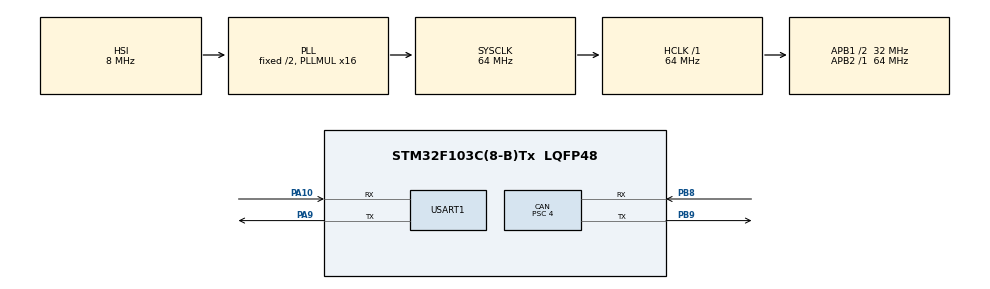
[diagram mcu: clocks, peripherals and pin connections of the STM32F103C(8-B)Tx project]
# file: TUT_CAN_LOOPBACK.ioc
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CAN.BS1=CAN_BS1_12TQ
CAN.BS2=CAN_BS2_3TQ
CAN.CalculateBaudRate=500000
CAN.CalculateTimeBit=2000
CAN.CalculateTimeQuantum=125.0
CAN.Mode=CAN_MODE_NORMAL
CAN.Prescaler=4
Mcu.Family=STM32F1
Mcu.Name=STM32F103C(8-B)Tx
Mcu.Package=LQFP48
NVIC.CAN1_RX1_IRQn=true\:0\:0\:false\:false\:true\:true\:true\:true
NVIC.PriorityGroup=NVIC_PRIORITYGROUP_4
NVIC.USB_LP_CAN1_RX0_IRQn=true\:0\:0\:false\:false\:true\:true\:true\:true
PA10.Mode=Asynchronous
PA10.Signal=USART1_RX
PA13.Mode=Serial_Wire
PA13.Signal=SYS_JTMS-SWDIO
PA14.Mode=Serial_Wire
PA14.Signal=SYS_JTCK-SWCLK
PA9.Mode=Asynchronous
PA9.Signal=USART1_TX
PB8.GPIO_PuPd=GPIO_PULLUP
PB8.Mode=CAN_Activate
PB8.Signal=CAN_RX
PB9.Mode=CAN_Activate
PB9.Signal=CAN_TX
PD0-OSC_IN.Mode=HSE-External-Oscillator
PD0-OSC_IN.Signal=RCC_OSC_IN
PD1-OSC_OUT.Mode=HSE-External-Oscillator
PD1-OSC_OUT.Signal=RCC_OSC_OUT
ProjectManager.HeapSize=0x200
ProjectManager.StackSize=0x400
ProjectManager.TargetToolchain=STM32CubeIDE
RCC.AHBFreq_Value=64000000
RCC.APB1CLKDivider=RCC_HCLK_DIV2
RCC.APB1Freq_Value=32000000
RCC.APB1TimFreq_Value=64000000
RCC.APB2Freq_Value=64000000
RCC.APB2TimFreq_Value=64000000
RCC.HCLKFreq_Value=64000000
RCC.PLLMUL=RCC_PLL_MUL16
RCC.SYSCLKFreq_VALUE=64000000
RCC.SYSCLKSource=RCC_SYSCLKSOURCE_PLLCLK
RCC.USBFreq_Value=64000000
USART1.VirtualMode=VM_ASYNC
board=custom

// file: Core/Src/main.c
/* USER CODE BEGIN Header */
/**
  ******************************************************************************
  * @file           : main.c
  * @brief          : Main program body
  ******************************************************************************
  * @attention
  *
  * <h2><center>&copy; Copyright (c) 2021 STMicroelectronics.
  * All rights reserved.</center></h2>
  *
  * This software component is licensed by ST under BSD 3-Clause license,
  * the "License"; You may not use this file except in compliance with the
  * License. You may obtain a copy of the License at:
  *                        opensource.org/licenses/BSD-3-Clause
  *
  ******************************************************************************
  */
/* USER CODE END Header */
#include "main.h"

CAN_HandleTypeDef hcan;

UART_HandleTypeDef huart1;

/* USER CODE BEGIN PV */
CAN_TxHeaderTypeDef   TxHeader; /* Header containing the information of the transmitted frame */
CAN_RxHeaderTypeDef   RxHeader; ; /* Header containing the information of the received frame */
uint8_t               TxData[8] = "RXhi000\n";  /* Buffer of the data to send */
uint8_t               RxData[8]; /* Buffer of the received data */
uint32_t              TxMailbox;  /* The number of the mail box that transmitted the Tx message */

/* USER CODE END PV */

void SystemClock_Config(void);
static void MX_GPIO_Init(void);
static void MX_CAN_Init(void);
static void MX_USART1_UART_Init(void);

int main(void)
{

  /* MCU Configuration--------------------------------------------------------*/

  /* Reset of all peripherals, Initializes the Flash interface and the Systick. */
  HAL_Init();

  /* Configure the system clock */
  SystemClock_Config();

  /* Initialize all configured peripherals */
  MX_GPIO_Init();
  MX_CAN_Init();
  MX_USART1_UART_Init();
  /* USER CODE BEGIN 2 */
  TxHeader.StdId = 0x124;
  TxHeader.RTR = CAN_RTR_DATA;
  TxHeader.IDE = CAN_ID_STD;
  TxHeader.DLC = 8;
  TxHeader.TransmitGlobalTime = DISABLE;

  /* USER CODE END 2 */

  /* Infinite loop */
  /* USER CODE BEGIN WHILE */
  while (1)
  {

	  TxData[6] --; /* Increment the last byte */

      /* It's mandatory to look for a free Tx mail box */
	  while(HAL_CAN_GetTxMailboxesFreeLevel(&hcan) == 0); /* Wait till a Tx mailbox is free. Using while loop instead of HAL_Delay() */
      HAL_Delay(1000);
    /* USER CODE END WHILE */

  }
}

void SystemClock_Config(void)
{
  RCC_OscInitTypeDef RCC_OscInitStruct = {0};
  RCC_ClkInitTypeDef RCC_ClkInitStruct = {0};

  /** Initializes the RCC Oscillators according to the specified parameters
  * in the RCC_OscInitTypeDef structure.
  */
  RCC_OscInitStruct.OscillatorType = RCC_OSCILLATORTYPE_HSI;
  RCC_OscInitStruct.HSIState = RCC_HSI_ON;
  RCC_OscInitStruct.HSICalibrationValue = RCC_HSICALIBRATION_DEFAULT;
  RCC_OscInitStruct.PLL.PLLState = RCC_PLL_ON;
  RCC_OscInitStruct.PLL.PLLSource = RCC_PLLSOURCE_HSI_DIV2;
  RCC_OscInitStruct.PLL.PLLMUL = RCC_PLL_MUL16;
  if (HAL_RCC_OscConfig(&RCC_OscInitStruct) != HAL_OK)
  {
    Error_Handler();
  }

  /** Initializes the CPU, AHB and APB buses clocks
  */
  RCC_ClkInitStruct.ClockType = RCC_CLOCKTYPE_HCLK|RCC_CLOCKTYPE_SYSCLK
                              |RCC_CLOCKTYPE_PCLK1|RCC_CLOCKTYPE_PCLK2;
  RCC_ClkInitStruct.SYSCLKSource = RCC_SYSCLKSOURCE_PLLCLK;
  RCC_ClkInitStruct.AHBCLKDivider = RCC_SYSCLK_DIV1;
  RCC_ClkInitStruct.APB1CLKDivider = RCC_HCLK_DIV2;
  RCC_ClkInitStruct.APB2CLKDivider = RCC_HCLK_DIV1;

  if (HAL_RCC_ClockConfig(&RCC_ClkInitStruct, FLASH_LATENCY_2) != HAL_OK)
  {
    Error_Handler();
  }
}

static void MX_CAN_Init(void)
{

  /* USER CODE BEGIN CAN_Init 0 */
	CAN_FilterTypeDef  sFilterConfig;

  /* USER CODE END CAN_Init 0 */

  hcan.Instance = CAN1;
  hcan.Init.Prescaler = 4;
  hcan.Init.Mode = CAN_MODE_NORMAL;
  hcan.Init.SyncJumpWidth = CAN_SJW_1TQ;
  hcan.Init.TimeSeg1 = CAN_BS1_12TQ;
  hcan.Init.TimeSeg2 = CAN_BS2_3TQ;
  hcan.Init.TimeTriggeredMode = DISABLE;
  hcan.Init.AutoBusOff = DISABLE;
  hcan.Init.AutoWakeUp = DISABLE;
  hcan.Init.AutoRetransmission = DISABLE;
  hcan.Init.ReceiveFifoLocked = DISABLE;
  hcan.Init.TransmitFifoPriority = DISABLE;
  if (HAL_CAN_Init(&hcan) != HAL_OK)
  {
    Error_Handler();
  }
  /* USER CODE BEGIN CAN_Init 2 */

  /* The CAN filter configuration */
    sFilterConfig.FilterBank = 0;
    sFilterConfig.FilterMode = CAN_FILTERMODE_IDMASK;
    sFilterConfig.FilterScale = CAN_FILTERSCALE_32BIT;
    sFilterConfig.FilterIdHigh = 0x0123<<5;
    sFilterConfig.FilterIdLow = 0x0000;
    sFilterConfig.FilterMaskIdHigh = 0x0123<<5;
    sFilterConfig.FilterMaskIdLow = 0x0000;
    sFilterConfig.FilterFIFOAssignment = CAN_RX_FIFO0; /* The data will be received in FIFO0 */
    sFilterConfig.FilterActivation = ENABLE;
    sFilterConfig.SlaveStartFilterBank = 14;
    if (HAL_CAN_ConfigFilter(&hcan, &sFilterConfig) != HAL_OK)
    {
      /* Filter configuration Error */
      Error_Handler();
    }
   /* Starting the CAN peripheral */
    if (HAL_CAN_Start(&hcan) != HAL_OK)
    {
      /* Start Error */
      Error_Handler();
    }
   /* Activate CAN RX notification on FIFO0 */
    if (HAL_CAN_ActivateNotification(&hcan, CAN_IT_RX_FIFO0_MSG_PENDING) != HAL_OK)
    {
      /* Notification Error */
      Error_Handler();
    }

  /* USER CODE END CAN_Init 2 */

}

static void MX_USART1_UART_Init(void)
{

  huart1.Instance = USART1;
  huart1.Init.BaudRate = 115200;
  huart1.Init.WordLength = UART_WORDLENGTH_8B;
  huart1.Init.StopBits = UART_STOPBITS_1;
  huart1.Init.Parity = UART_PARITY_NONE;
  huart1.Init.Mode = UART_MODE_TX_RX;
  huart1.Init.HwFlowCtl = UART_HWCONTROL_NONE;
  huart1.Init.OverSampling = UART_OVERSAMPLING_16;
  if (HAL_UART_Init(&huart1) != HAL_OK)
  {
    Error_Handler();
  }

}

static void MX_GPIO_Init(void)
{

  /* GPIO Ports Clock Enable */
  __HAL_RCC_GPIOD_CLK_ENABLE();
  __HAL_RCC_GPIOA_CLK_ENABLE();
  __HAL_RCC_GPIOB_CLK_ENABLE();

}

/* USER CODE BEGIN 4 */
void HAL_CAN_RxFifo0MsgPendingCallback(CAN_HandleTypeDef *CanHandle)
{
  /* Get RX message */
  if (HAL_CAN_GetRxMessage(CanHandle, CAN_RX_FIFO0, &RxHeader, RxData) != HAL_OK)
  {
    /* Reception Error */
    Error_Handler();
  }

  /* Transmit received data over UART */
  if (HAL_UART_Transmit(&huart1, RxData, 8, 100) != HAL_OK)
  {
    /* UART Transmission Error */
    Error_Handler();
  }
  if (HAL_CAN_AddTxMessage(&hcan, &TxHeader, TxData, &TxMailbox) != HAL_OK)
  {
    /* Transmission request Error */
    Error_Handler();
  }
}

/* USER CODE END 4 */

void Error_Handler(void)
{
  __disable_irq();
  while (1)
  {
  }
}
